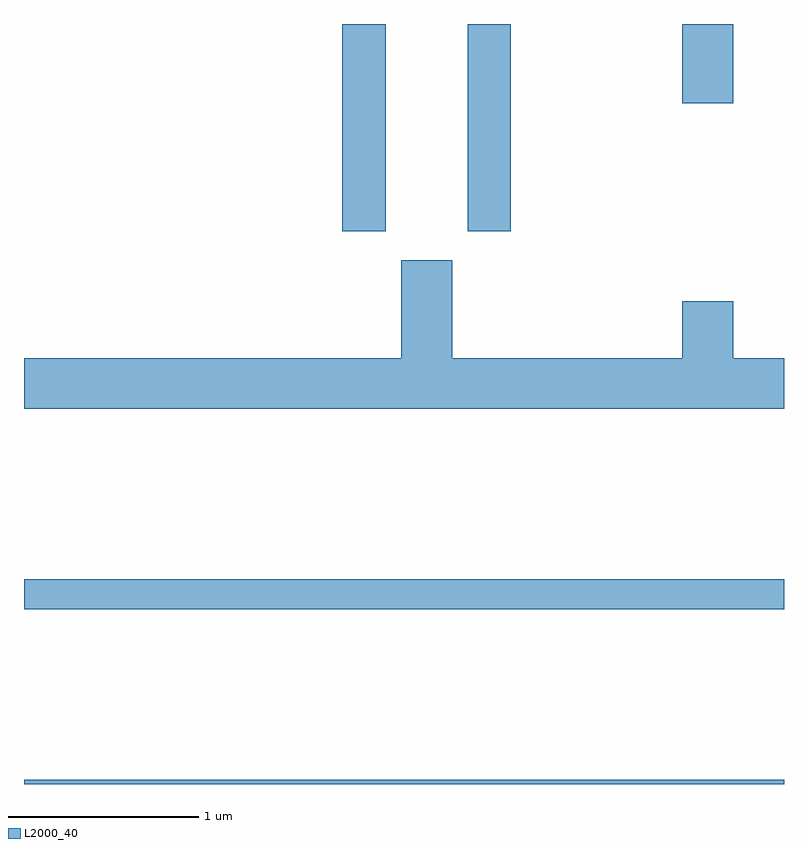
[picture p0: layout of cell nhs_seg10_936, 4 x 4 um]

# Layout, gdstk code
import gdstk
lib = gdstk.Library(unit=1e-6, precision=1e-09)
def R(c, l, rs):  # rectangles x0, y0, x1, y1
    for r in rs: c.add(gdstk.rectangle(r[:2], r[2:], *l))
def P(c, l, *ps):  # polygons
    for p in ps: c.add(gdstk.Polygon(p, *l))
L2000_40 = (2000, 40)

nhs_seg10_936 = lib.new_cell('nhs_seg10_936')
R(nhs_seg10_936, L2000_40, [(211.611,2198.522,215.611,2198.544), (211.611,2199.441,215.611,2199.599), (213.286,2201.431,213.514,2202.522), (213.946,2201.431,214.174,2202.522), (215.076,2202.106,215.344,2202.522)])
P(nhs_seg10_936, L2000_40, [(215.611,2200.764),(215.344,2200.764),(215.344,2201.064),(215.076,2201.064),(215.076,2200.764),(213.864,2200.764),(213.864,2201.279),(213.596,2201.279),(213.596,2200.764),(211.611,2200.764),(211.611,2200.496),(215.611,2200.496)])

lib.write_gds('nhs_seg10_936.gds')
